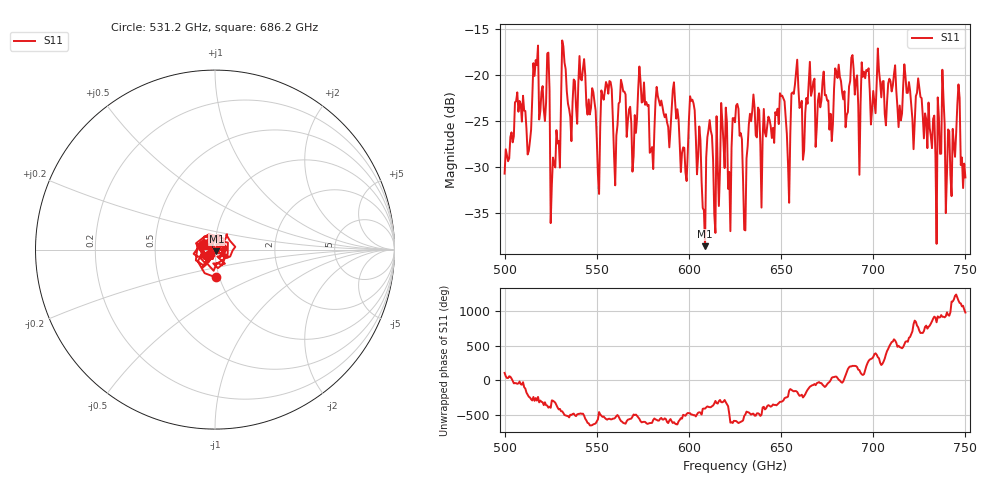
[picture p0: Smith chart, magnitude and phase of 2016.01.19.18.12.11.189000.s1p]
!Created with skrf (http://scikit-rf.org).
# GHz S RI R 50.0
!freq ReS11 ImS11
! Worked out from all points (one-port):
!   401 points, 500 GHz to 750 GHz, reference 50 ohm
!   lowest |S11| = -38.6 dB at 608.8 GHz (marker M1), VSWR 1.02, Z = 50.8 - j0.917 ohm
!   |S11| at or under -10 dB: start of sweep to end of sweep
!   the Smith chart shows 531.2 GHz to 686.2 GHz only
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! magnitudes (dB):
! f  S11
! 500 GHz  -30.7
! 506.9 GHz  -21.9
! 513.1 GHz  -28.2
! 516.9 GHz  -18.4
! 523.1 GHz  -17.7
! 526.2 GHz  -29.0
! 531.2 GHz  -16.2
! 541.9 GHz  -20.6
! 550.6 GHz  -30.8
! 553.8 GHz  -22.7
! 562.5 GHz  -22.9
! 593.8 GHz  -23.7
! 598.1 GHz  -30.6
! 601.9 GHz  -22.7
! 608.8 GHz  -38.6
! 611.2 GHz  -24.9
! 615 GHz  -24.5
! 625 GHz  -25.1
! 630.6 GHz  -36.9
! 634.4 GHz  -23.9
! 650.6 GHz  -22.2
! 653.8 GHz  -29.6
! 656.2 GHz  -21.9
! 687.5 GHz  -20.6
! 718.8 GHz  -21.9
! 733.1 GHz  -24.4
! 746.2 GHz  -21.0
! 750 GHz  -31.1
